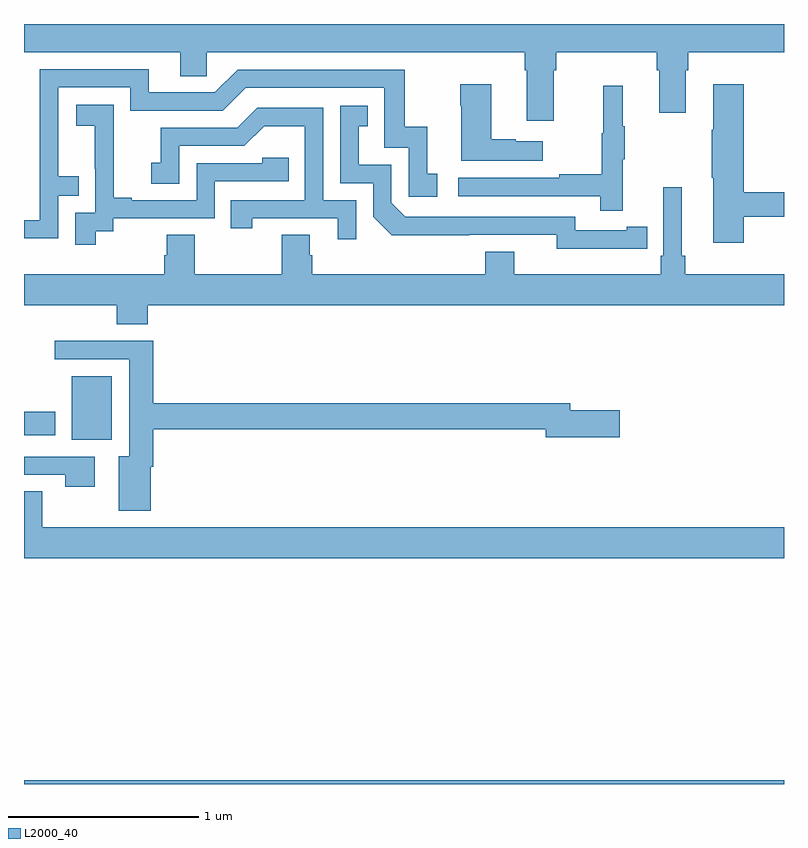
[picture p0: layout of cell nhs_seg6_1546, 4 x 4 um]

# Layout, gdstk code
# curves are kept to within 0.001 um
import gdstk
lib = gdstk.Library(unit=1e-6, precision=1e-09)
def R(c, l, rs):  # rectangles x0, y0, x1, y1
    for r in rs: c.add(gdstk.rectangle(r[:2], r[2:], *l))
def P(c, l, *ps):  # polygons
    for p in ps: c.add(gdstk.Polygon(p, *l))
L2000_40 = (2000, 40)

nhs_seg6_1546 = lib.new_cell('nhs_seg6_1546')
R(nhs_seg6_1546, L2000_40, [(205,927.5,209,927.52), (205.25,929.312,205.462,929.647), (205,929.336,205.165,929.458)])
P(nhs_seg6_1546, L2000_40, [(207.787,931.256),(207.8,931.256),(207.8,931.352),(208.331,931.352),(208.331,931.256),(208.343,931.256),(208.343,931.032),(208.483,931.032),(208.483,931.256),(208.496,931.256),(208.496,931.352),(209,931.352),(209,931.5),(205,931.5),(205,931.352),(205.823,931.352),(205.823,931.225),(205.962,931.225),(205.962,931.352),(207.635,931.352),(207.635,931.256),(207.647,931.256),(207.647,930.99),(207.787,930.99)],
  [(205.179,930.597),(205.289,930.597),(205.289,930.698),(205.179,930.698),(205.179,931.167),(205.56,931.167),(205.56,931.044),(206.046,931.044),(206.166,931.164),(206.895,931.164),(206.895,930.849),(207.024,930.849),(207.024,930.591),(207.175,930.591),(207.175,930.711),(207.122,930.711),(207.122,930.958),(207.004,930.958),(207.004,931.26),(206.124,931.26),(206.004,931.14),(205.657,931.14),(205.657,931.263),(205.083,931.263),(205.083,930.468),(205,930.468),(205,930.372),(205.179,930.372)],
  [(207.73,930.883),(207.587,930.883),(207.587,930.893),(207.46,930.893),(207.46,931.183),(207.295,931.183),(207.295,931.07),(207.302,931.07),(207.302,930.779),(207.73,930.779)],
  [(208.787,930.486),(209,930.486),(209,930.614),(208.787,930.614),(208.787,931.183),(208.628,931.183),(208.628,930.944),(208.621,930.944),(208.621,930.691),(208.628,930.691),(208.628,930.348),(208.787,930.348)],
  [(208.151,930.787),(208.162,930.787),(208.162,930.961),(208.151,930.961),(208.151,931.174),(208.048,931.174),(208.048,930.924),(208.041,930.924),(208.041,930.71),(207.817,930.71),(207.817,930.69),(207.285,930.69),(207.285,930.594),(208.033,930.594),(208.033,930.516),(208.151,930.516)],
  [(205.378,930.409),(205.47,930.409),(205.47,930.477),(206.004,930.477),(206.004,930.672),(206.393,930.672),(206.393,930.795),(206.253,930.795),(206.253,930.768),(205.908,930.768),(205.908,930.573),(205.567,930.573),(205.567,930.586),(205.472,930.586),(205.472,930.869),(205.473,930.869),(205.473,931.075),(205.275,931.075),(205.275,930.965),(205.373,930.965),(205.373,930.737),(205.374,930.737),(205.374,930.507),(205.269,930.507),(205.269,930.339),(205.378,930.339)],
  [(208.172,930.318),(208.28,930.318),(208.28,930.434),(208.172,930.434),(208.172,930.414),(207.9,930.414),(207.9,930.486),(207.006,930.486),(206.934,930.558),(206.934,930.759),(206.761,930.759),(206.761,930.963),(206.81,930.963),(206.81,931.069),(206.664,931.069),(206.664,930.663),(206.838,930.663),(206.838,930.486),(206.936,930.389),(207.804,930.39),(207.804,930.317)],
  [(206.748,930.573),(206.574,930.573),(206.574,931.059),(206.228,931.059),(206.123,930.954),(205.72,930.954),(205.72,930.769),(205.671,930.769),(205.671,930.66),(205.818,930.66),(205.818,930.858),(206.16,930.858),(206.264,930.962),(206.478,930.962),(206.478,930.573),(206.089,930.573),(206.089,930.426),(206.2,930.426),(206.2,930.477),(206.651,930.477),(206.651,930.366),(206.748,930.366)],
  [(205.652,930.02),(209,930.02),(209,930.184),(208.481,930.184),(208.481,930.28),(208.462,930.28),(208.462,930.64),(208.365,930.64),(208.365,930.28),(208.352,930.28),(208.352,930.184),(207.58,930.184),(207.58,930.301),(207.428,930.301),(207.428,930.184),(206.516,930.184),(206.516,930.282),(206.503,930.282),(206.503,930.392),(206.356,930.392),(206.356,930.184),(205.899,930.184),(205.899,930.392),(205.751,930.392),(205.751,930.282),(205.739,930.282),(205.739,930.184),(205,930.184),(205,930.02),(205.487,930.02),(205.487,929.921),(205.652,929.921)],
  [(205.666,929.171),(205.679,929.171),(205.679,929.368),(207.746,929.368),(207.746,929.326),(208.135,929.326),(208.135,929.468),(207.874,929.468),(207.874,929.504),(205.679,929.504),(205.679,929.834),(205.161,929.834),(205.161,929.736),(205.553,929.736),(205.553,929.224),(205.499,929.224),(205.499,928.938),(205.666,928.938)],
  [(205.372,929.223),(205,929.223),(205,929.127),(205.216,929.127),(205.216,929.064),(205.372,929.064)],
  [(209,928.852),(205.095,928.852),(205.095,929.042),(205,929.042),(205,928.688),(209,928.688)])

lib.write_gds('nhs_seg6_1546.gds')
